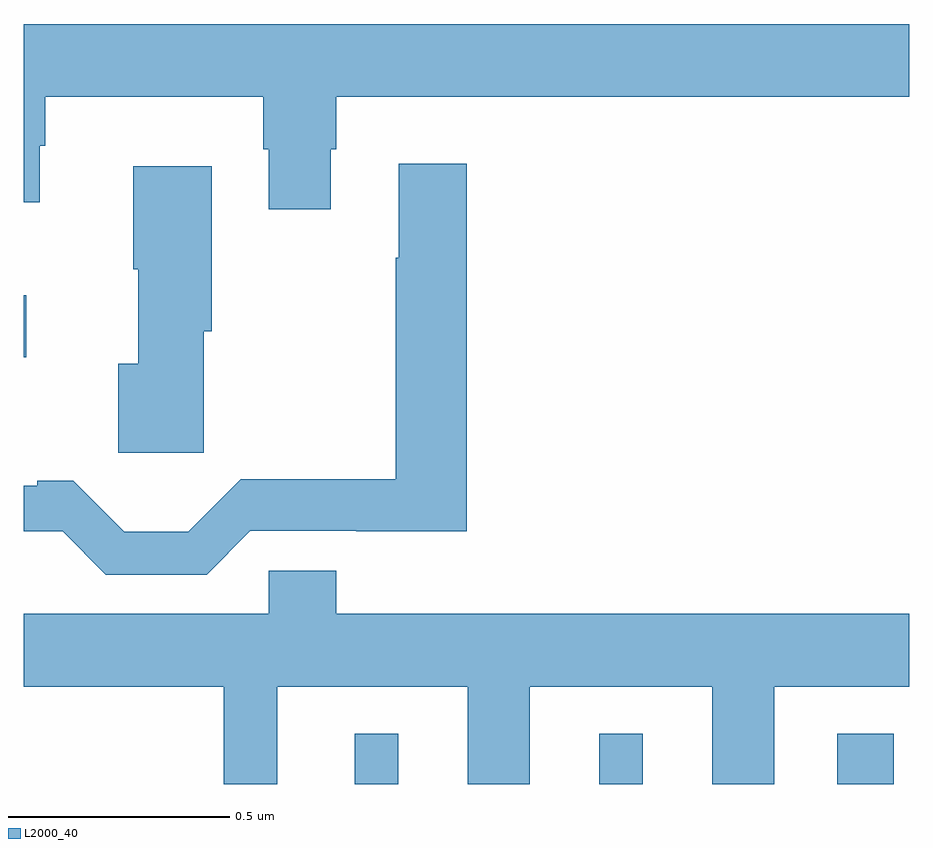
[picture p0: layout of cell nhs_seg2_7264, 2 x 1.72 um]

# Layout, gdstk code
import gdstk
lib = gdstk.Library(unit=1e-6, precision=1e-09)
def R(c, l, rs):  # rectangles x0, y0, x1, y1
    for r in rs: c.add(gdstk.rectangle(r[:2], r[2:], *l))
def P(c, l, *ps):  # polygons
    for p in ps: c.add(gdstk.Polygon(p, *l))
L2000_40 = (2000, 40)

nhs_seg2_7264 = lib.new_cell('nhs_seg2_7264')
R(nhs_seg2_7264, L2000_40, [(202.748,596.8,202.846,596.914), (203.3,596.8,203.398,596.914), (203.837,596.8,203.965,596.914), (202,597.764,202.006,597.904)])
P(nhs_seg2_7264, L2000_40, [(202.693,598.233),(202.706,598.233),(202.706,598.352),(204,598.352),(204,598.516),(202,598.516),(202,598.113),(202.036,598.113),(202.036,598.241),(202.049,598.241),(202.049,598.352),(202.541,598.352),(202.541,598.233),(202.553,598.233),(202.553,598.098),(202.693,598.098)],
  [(202.512,597.372),(202.751,597.372),(202.751,597.371),(203,597.371),(203,598.201),(202.847,598.201),(202.847,597.988),(202.84,597.988),(202.84,597.488),(202.49,597.488),(202.372,597.37),(202.227,597.37),(202.112,597.485),(202.031,597.485),(202.031,597.473),(202,597.473),(202,597.371),(202.088,597.371),(202.185,597.273),(202.413,597.273)],
  [(202.407,597.822),(202.425,597.822),(202.425,598.195),(202.247,598.195),(202.247,597.962),(202.259,597.962),(202.259,597.749),(202.214,597.749),(202.214,597.548),(202.407,597.548)],
  [(202.573,597.02),(203.003,597.02),(203.003,596.8),(203.143,596.8),(203.143,597.02),(203.555,597.02),(203.555,596.8),(203.695,596.8),(203.695,597.02),(204,597.02),(204,597.184),(202.706,597.184),(202.706,597.282),(202.554,597.282),(202.554,597.184),(202,597.184),(202,597.02),(202.452,597.02),(202.452,596.8),(202.573,596.8)])

lib.write_gds('nhs_seg2_7264.gds')
